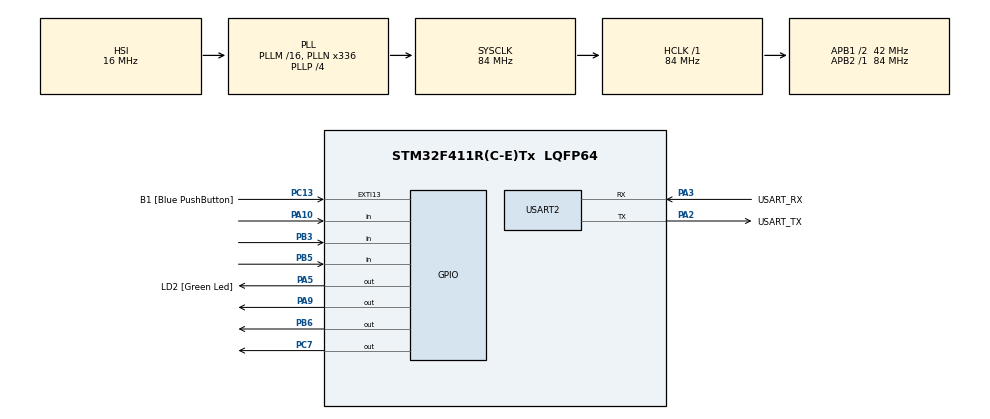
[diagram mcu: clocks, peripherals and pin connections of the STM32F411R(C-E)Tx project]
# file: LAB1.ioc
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Mcu.Family=STM32F4
PC15-OSC32_OUT.Mode=LSE-External-Oscillator
RCC.CortexFreq_Value=84000000
PC13-ANTI_TAMP.GPIO_Label=B1 [Blue PushButton]
PA14.GPIO_Label=TCK
PH1\ -\ OSC_OUT.Mode=HSE-External-Clock-Source
RCC.APB1CLKDivider=RCC_HCLK_DIV2
PC14-OSC32_IN.Signal=RCC_OSC32_IN
RCC.SYSCLKSource=RCC_SYSCLKSOURCE_PLLCLK
ProjectManager.StackSize=0x400
PA13.Signal=SYS_JTMS-SWDIO
PA3.Mode=Asynchronous
PH0\ -\ OSC_IN.Mode=HSE-External-Clock-Source
PH0\ -\ OSC_IN.Signal=RCC_OSC_IN
ProjectManager.TargetToolchain=STM32CubeIDE
RCC.HCLKFreq_Value=84000000
RCC.APB2TimFreq_Value=84000000
PA9.Signal=GPIO_Output
PB6.Signal=GPIO_Output
PC7.Signal=GPIO_Output
PC15-OSC32_OUT.Signal=RCC_OSC32_OUT
RCC.AHBFreq_Value=84000000
PA5.Signal=GPIO_Output
RCC.HSE_VALUE=8000000
PH1\ -\ OSC_OUT.Signal=RCC_OSC_OUT
board=NUCLEO-F411RE
PC13-ANTI_TAMP.Signal=GPXTI13
RCC.VCOOutputFreq_Value=336000000
RCC.APB2Freq_Value=84000000
PC14-OSC32_IN.Mode=LSE-External-Oscillator
PA14.Mode=Serial_Wire
PA13.Mode=Serial_Wire
Mcu.Name=STM32F411R(C-E)Tx
PA2.Signal=USART2_TX
PA13.GPIO_Label=TMS
RCC.FLatency-AdvancedSettings=FLASH_LATENCY_2
RCC.48MHZClocksFreq_Value=84000000
PB3.Signal=GPIO_Input
RCC.SYSCLKFreq_VALUE=84000000
Mcu.Package=LQFP64
PB5.Signal=GPIO_Input
PA5.GPIO_Label=LD2 [Green Led]
USART2.VirtualMode=VM_ASYNC
PC13-ANTI_TAMP.GPIO_ModeDefaultEXTI=GPIO_MODE_IT_FALLING
PA2.GPIO_Label=USART_TX
PA10.Signal=GPIO_Input
PA14.Signal=SYS_JTCK-SWCLK
ProjectManager.HeapSize=0x200
RCC.HSI_VALUE=16000000
RCC.PLLP=RCC_PLLP_DIV4
NVIC.PriorityGroup=NVIC_PRIORITYGROUP_0
RCC.PLLN=336
RCC.APB1TimFreq_Value=84000000
PA2.Mode=Asynchronous
RCC.APB1Freq_Value=42000000
PA3.GPIO_Label=USART_RX
PA3.Signal=USART2_RX

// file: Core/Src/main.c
/* USER CODE BEGIN Header */
/**
 ******************************************************************************
 * @file           : main.c
 * @brief          : Main program body
 ******************************************************************************
 * @attention
 *
 * <h2><center>&copy; Copyright (c) 2021 STMicroelectronics.
 * All rights reserved.</center></h2>
 *
 * This software component is licensed by ST under BSD 3-Clause license,
 * the "License"; You may not use this file except in compliance with the
 * License. You may obtain a copy of the License at:
 *                        opensource.org/licenses/BSD-3-Clause
 *
 ******************************************************************************
 */
/* USER CODE END Header */
#include "main.h"

UART_HandleTypeDef huart2;

void SystemClock_Config(void);
static void MX_GPIO_Init(void);
static void MX_USART2_UART_Init(void);

int main(void)
{

  /* MCU Configuration--------------------------------------------------------*/

  /* Reset of all peripherals, Initializes the Flash interface and the Systick. */
  HAL_Init();

  /* Configure the system clock */
  SystemClock_Config();

  /* Initialize all configured peripherals */
  MX_GPIO_Init();
  MX_USART2_UART_Init();
  /* USER CODE BEGIN 2 */

	GPIO_PinState SwitchState[2];
	GPIO_PinState SwitchState1[2];
	GPIO_PinState SwitchState2[2];
	uint16_t LED1_HalfPeriod = 1000; //0.5 Hz
	uint16_t LED3_HalfPeriod = 500;
	uint32_t TS1 = 0;
	uint32_t TS2 = 0;
	uint32_t TN = 0;
	uint16_t led = 1;
	uint16_t x = 1;
	// uint32_t ButtonTimeStamp = 0;

  /* USER CODE END 2 */

  /* Infinite loop */
	while (1)
	{

    /* USER CODE BEGIN 3 */
		SwitchState[0] = HAL_GPIO_ReadPin(GPIOA, GPIO_PIN_10);
		SwitchState1[0] = HAL_GPIO_ReadPin(GPIOB, GPIO_PIN_3);
		SwitchState2[0] = HAL_GPIO_ReadPin(GPIOB, GPIO_PIN_5);
		if (HAL_GetTick() - TN >= 100)
		{
			// LED 1
			if (SwitchState[1] == GPIO_PIN_RESET && SwitchState[0] == GPIO_PIN_SET)
			{
				if (LED1_HalfPeriod == 1000)
				{
					LED1_HalfPeriod = 500;
				}
				else if (LED1_HalfPeriod == 500)
				{
					LED1_HalfPeriod = 250;
				}
				else if (LED1_HalfPeriod == 250)
				{
					LED1_HalfPeriod = 500/3;
				}
				else
				{
					LED1_HalfPeriod = 1000;
				}
				TN = HAL_GetTick();
			}

			// LED 2
			if (SwitchState1[1] == GPIO_PIN_RESET && SwitchState1[0] == GPIO_PIN_SET)
			{
				if (led == 1)
				{
					led = 0;
				}
				else
				{
					led = 1;
				}
				TN = HAL_GetTick();
			}

			// LED 3
			if (SwitchState2[1] == GPIO_PIN_RESET && SwitchState2[0] == GPIO_PIN_SET)
			{
				if (x == 1)
				{
					x = 0;
					LED3_HalfPeriod = 1500;
				}
				else
				{
					x = 1;
					LED3_HalfPeriod = 500;
				}
				TN = HAL_GetTick();
			}

			SwitchState[1] = SwitchState[0];
			SwitchState1[1] = SwitchState1[0];
			SwitchState2[1] = SwitchState2[0];
		}

			//RUN LED 1
			if(HAL_GetTick() - TS1 >= LED1_HalfPeriod)
			{
				TS1 = HAL_GetTick();
				if(HAL_GPIO_ReadPin(GPIOA, GPIO_PIN_9) == GPIO_PIN_RESET)
				{
					HAL_GPIO_WritePin(GPIOA, GPIO_PIN_9, GPIO_PIN_SET);
				}
				else
				{
					HAL_GPIO_WritePin(GPIOA, GPIO_PIN_9, GPIO_PIN_RESET);
				}
			}

			//RUN LED 2
			if (led == 1)
			{
				HAL_GPIO_WritePin(GPIOC, GPIO_PIN_7, GPIO_PIN_SET);
			}
			if (led == 0)
			{
				HAL_GPIO_WritePin(GPIOC, GPIO_PIN_7, GPIO_PIN_RESET);
			}

			//RUN LED3
			if (x == 1)
			{
				if(HAL_GetTick() - TS2 >= LED3_HalfPeriod)
				{
					TS2 = HAL_GetTick();
					if(HAL_GPIO_ReadPin(GPIOB, GPIO_PIN_6) == GPIO_PIN_RESET)
					{
						HAL_GPIO_WritePin(GPIOB, GPIO_PIN_6, GPIO_PIN_SET);
						LED3_HalfPeriod = 500;
					}
					else
					{
						HAL_GPIO_WritePin(GPIOB, GPIO_PIN_6, GPIO_PIN_RESET);
						LED3_HalfPeriod = 1500;
					}
				}
			}
			if (x == 0)
			{
				if(HAL_GetTick() - TS2 >= LED3_HalfPeriod)
				{
					TS2 = HAL_GetTick();
					if(HAL_GPIO_ReadPin(GPIOB, GPIO_PIN_6) == GPIO_PIN_RESET)
					{
						HAL_GPIO_WritePin(GPIOB, GPIO_PIN_6, GPIO_PIN_SET);
						LED3_HalfPeriod = 1500;
					}
					else
					{
						HAL_GPIO_WritePin(GPIOB, GPIO_PIN_6, GPIO_PIN_RESET);
						LED3_HalfPeriod = 500;
					}
				}
			}

	}
  /* USER CODE END 3 */
}

void SystemClock_Config(void)
{
  RCC_OscInitTypeDef RCC_OscInitStruct = {0};
  RCC_ClkInitTypeDef RCC_ClkInitStruct = {0};

  /** Configure the main internal regulator output voltage
  */
  __HAL_RCC_PWR_CLK_ENABLE();
  __HAL_PWR_VOLTAGESCALING_CONFIG(PWR_REGULATOR_VOLTAGE_SCALE1);
  /** Initializes the RCC Oscillators according to the specified parameters
  * in the RCC_OscInitTypeDef structure.
  */
  RCC_OscInitStruct.OscillatorType = RCC_OSCILLATORTYPE_HSI;
  RCC_OscInitStruct.HSIState = RCC_HSI_ON;
  RCC_OscInitStruct.HSICalibrationValue = RCC_HSICALIBRATION_DEFAULT;
  RCC_OscInitStruct.PLL.PLLState = RCC_PLL_ON;
  RCC_OscInitStruct.PLL.PLLSource = RCC_PLLSOURCE_HSI;
  RCC_OscInitStruct.PLL.PLLM = 16;
  RCC_OscInitStruct.PLL.PLLN = 336;
  RCC_OscInitStruct.PLL.PLLP = RCC_PLLP_DIV4;
  RCC_OscInitStruct.PLL.PLLQ = 4;
  if (HAL_RCC_OscConfig(&RCC_OscInitStruct) != HAL_OK)
  {
    Error_Handler();
  }
  /** Initializes the CPU, AHB and APB buses clocks
  */
  RCC_ClkInitStruct.ClockType = RCC_CLOCKTYPE_HCLK|RCC_CLOCKTYPE_SYSCLK
                              |RCC_CLOCKTYPE_PCLK1|RCC_CLOCKTYPE_PCLK2;
  RCC_ClkInitStruct.SYSCLKSource = RCC_SYSCLKSOURCE_PLLCLK;
  RCC_ClkInitStruct.AHBCLKDivider = RCC_SYSCLK_DIV1;
  RCC_ClkInitStruct.APB1CLKDivider = RCC_HCLK_DIV2;
  RCC_ClkInitStruct.APB2CLKDivider = RCC_HCLK_DIV1;

  if (HAL_RCC_ClockConfig(&RCC_ClkInitStruct, FLASH_LATENCY_2) != HAL_OK)
  {
    Error_Handler();
  }
}

static void MX_USART2_UART_Init(void)
{

  huart2.Instance = USART2;
  huart2.Init.BaudRate = 115200;
  huart2.Init.WordLength = UART_WORDLENGTH_8B;
  huart2.Init.StopBits = UART_STOPBITS_1;
  huart2.Init.Parity = UART_PARITY_NONE;
  huart2.Init.Mode = UART_MODE_TX_RX;
  huart2.Init.HwFlowCtl = UART_HWCONTROL_NONE;
  huart2.Init.OverSampling = UART_OVERSAMPLING_16;
  if (HAL_UART_Init(&huart2) != HAL_OK)
  {
    Error_Handler();
  }

}

static void MX_GPIO_Init(void)
{
  GPIO_InitTypeDef GPIO_InitStruct = {0};

  /* GPIO Ports Clock Enable */
  __HAL_RCC_GPIOC_CLK_ENABLE();
  __HAL_RCC_GPIOH_CLK_ENABLE();
  __HAL_RCC_GPIOA_CLK_ENABLE();
  __HAL_RCC_GPIOB_CLK_ENABLE();

  /*Configure GPIO pin Output Level */
  HAL_GPIO_WritePin(GPIOA, LD2_Pin|GPIO_PIN_9, GPIO_PIN_RESET);

  /*Configure GPIO pin Output Level */
  HAL_GPIO_WritePin(GPIOC, GPIO_PIN_7, GPIO_PIN_RESET);

  /*Configure GPIO pin Output Level */
  HAL_GPIO_WritePin(GPIOB, GPIO_PIN_6, GPIO_PIN_RESET);

  /*Configure GPIO pin : B1_Pin */
  GPIO_InitStruct.Pin = B1_Pin;
  GPIO_InitStruct.Mode = GPIO_MODE_IT_FALLING;
  GPIO_InitStruct.Pull = GPIO_NOPULL;
  HAL_GPIO_Init(B1_GPIO_Port, &GPIO_InitStruct);

  /*Configure GPIO pins : LD2_Pin PA9 */
  GPIO_InitStruct.Pin = LD2_Pin|GPIO_PIN_9;
  GPIO_InitStruct.Mode = GPIO_MODE_OUTPUT_PP;
  GPIO_InitStruct.Pull = GPIO_NOPULL;
  GPIO_InitStruct.Speed = GPIO_SPEED_FREQ_LOW;
  HAL_GPIO_Init(GPIOA, &GPIO_InitStruct);

  /*Configure GPIO pin : PC7 */
  GPIO_InitStruct.Pin = GPIO_PIN_7;
  GPIO_InitStruct.Mode = GPIO_MODE_OUTPUT_PP;
  GPIO_InitStruct.Pull = GPIO_NOPULL;
  GPIO_InitStruct.Speed = GPIO_SPEED_FREQ_LOW;
  HAL_GPIO_Init(GPIOC, &GPIO_InitStruct);

  /*Configure GPIO pin : PA10 */
  GPIO_InitStruct.Pin = GPIO_PIN_10;
  GPIO_InitStruct.Mode = GPIO_MODE_INPUT;
  GPIO_InitStruct.Pull = GPIO_NOPULL;
  HAL_GPIO_Init(GPIOA, &GPIO_InitStruct);

  /*Configure GPIO pins : PB3 PB5 */
  GPIO_InitStruct.Pin = GPIO_PIN_3|GPIO_PIN_5;
  GPIO_InitStruct.Mode = GPIO_MODE_INPUT;
  GPIO_InitStruct.Pull = GPIO_NOPULL;
  HAL_GPIO_Init(GPIOB, &GPIO_InitStruct);

  /*Configure GPIO pin : PB6 */
  GPIO_InitStruct.Pin = GPIO_PIN_6;
  GPIO_InitStruct.Mode = GPIO_MODE_OUTPUT_PP;
  GPIO_InitStruct.Pull = GPIO_NOPULL;
  GPIO_InitStruct.Speed = GPIO_SPEED_FREQ_LOW;
  HAL_GPIO_Init(GPIOB, &GPIO_InitStruct);

}

void Error_Handler(void)
{
	__disable_irq();
	while (1) {
	}
}

/************************ (C) COPYRIGHT STMicroelectronics *****END OF FILE****/
